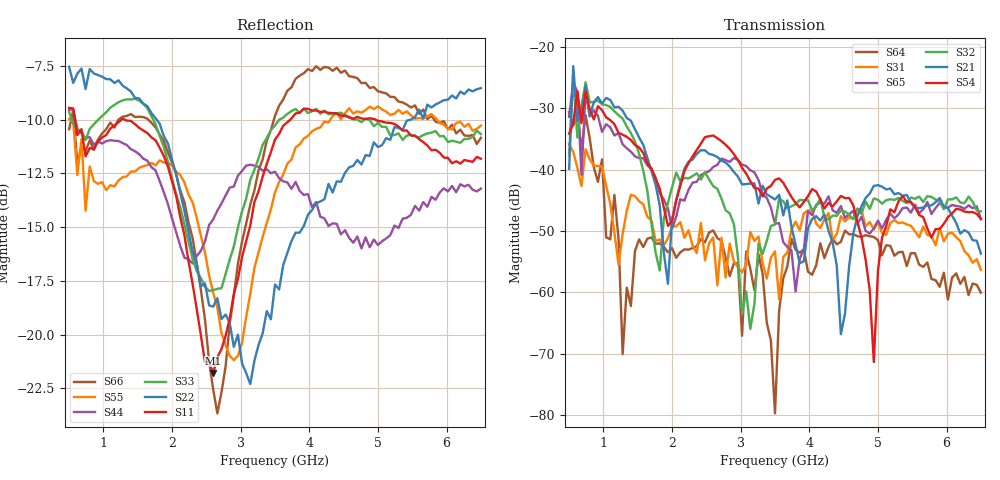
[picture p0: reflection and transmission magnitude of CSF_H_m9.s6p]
!Keysight Technologies,M9804A,MY58100912,A.14.10.03
!Date: Thursday, April 27, 2023 10:28:33
!Correction: S11(C  6-Port  )
!S12(C  6-Port  )
!S13(C  6-Port  )
!S14(C  6-Port  )
!S15(C  6-Port  )
!S16(C  6-Port  )
!S21(C  6-Port  )
!S22(C  6-Port  )
!S23(C  6-Port  )
!S24(C  6-Port  )
!S25(C  6-Port  )
!S26(C  6-Port  )
!S31(C  6-Port  )
!S32(C  6-Port  )
!S33(C  6-Port  )
!S34(C  6-Port  )
!S35(C  6-Port  )
!S36(C  6-Port  )
!S41(C  6-Port  )
!S42(C  6-Port  )
!S43(C  6-Port  )
!S44(C  6-Port  )
!S45(C  6-Port  )
!S46(C  6-Port  )
!S51(C  6-Port  )
!S52(C  6-Port  )
!S53(C  6-Port  )
!S54(C  6-Port  )
!S55(C  6-Port  )
!S56(C  6-Port  )
!S61(C  6-Port  )
!S62(C  6-Port  )
!S63(C  6-Port  )
!S64(C  6-Port  )
!S65(C  6-Port  )
!S66(C  6-Port  )
!S6P File: Measurement: :
# Hz S  RI  R 50
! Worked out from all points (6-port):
!   101 points, 500 MHz to 6.5 GHz, reference 50 ohm
!   strongest paths, dB at 500 MHz, 2 GHz, 3.5 GHz, 5 GHz, 6.5 GHz:
!     S54: -34.2, -48.4, -41.7, -56.5, -48.0
!     S21: -39.9, -48.1, -44.9, -42.5, -53.7
!     S32: -37.7, -42.9, -49.0, -44.9, -46.8
!     S65: -31.4, -49.6, -48.8, -48.3, -48.1
!     S31: -35.9, -49.3, -53.3, -48.6, -56.3
!     S64: -30.6, -52.8, -79.7, -51.5, -60.0
!   lowest |S11| = -21.8 dB at 2.6 GHz (marker M1), VSWR 1.18, Z = 42.7 + j1.9 ohm
!   |S11| at or under -10 dB: 585.5 MHz to 1.263 GHz (677.1 MHz wide, 73.3 % of centre); 1.312 GHz to 3.72 GHz (2.408 GHz wide, 95.7 % of centre); 4.965 GHz to end of sweep
